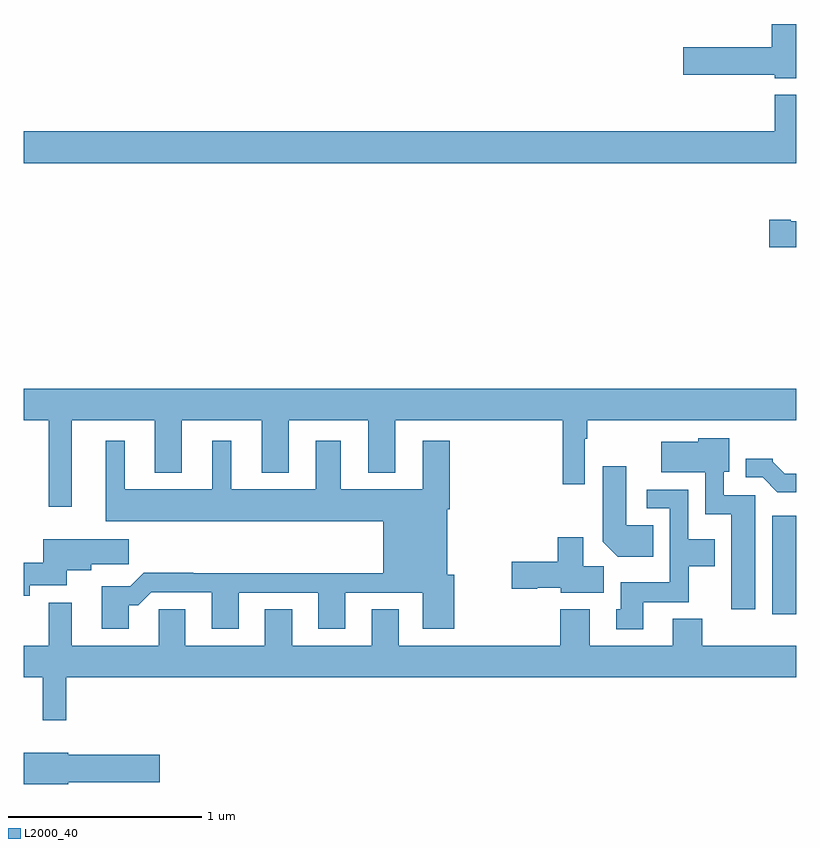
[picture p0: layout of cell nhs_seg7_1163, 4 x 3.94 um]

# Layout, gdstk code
import gdstk
lib = gdstk.Library(unit=1e-6, precision=1e-09)
def R(c, l, rs):  # rectangles x0, y0, x1, y1
    for r in rs: c.add(gdstk.rectangle(r[:2], r[2:], *l))
def P(c, l, *ps):  # polygons
    for p in ps: c.add(gdstk.Polygon(p, *l))
L2000_40 = (2000, 40)

nhs_seg7_1163 = lib.new_cell('nhs_seg7_1163')
R(nhs_seg7_1163, L2000_40, [(196.877,1000.944,197,1001.452)])
P(nhs_seg7_1163, L2000_40, [(197,1004),(196.874,1004),(196.874,1003.88),(196.416,1003.88),(196.416,1003.738),(196.89,1003.738),(196.89,1003.718),(197,1003.718)],
  [(197,1003.633),(196.889,1003.633),(196.889,1003.444),(193,1003.444),(193,1003.28),(197,1003.28)],
  [(197,1002.979),(196.972,1002.979),(196.972,1002.987),(196.86,1002.987),(196.86,1002.845),(197,1002.845)],
  [(193.249,1001.948),(193.679,1001.948),(193.679,1001.675),(193.819,1001.675),(193.819,1001.948),(194.231,1001.948),(194.231,1001.675),(194.371,1001.675),(194.371,1001.948),(194.783,1001.948),(194.783,1001.675),(194.923,1001.675),(194.923,1001.948),(195.79,1001.948),(195.79,1001.616),(195.906,1001.616),(195.906,1001.852),(195.919,1001.852),(195.919,1001.948),(197,1001.948),(197,1002.112),(193,1002.112),(193,1001.948),(193.128,1001.948),(193.128,1001.499),(193.249,1001.499)],
  [(196.789,1001.559),(196.626,1001.559),(196.626,1001.682),(196.654,1001.682),(196.654,1001.854),(196.494,1001.854),(196.494,1001.836),(196.302,1001.836),(196.302,1001.678),(196.53,1001.678),(196.53,1001.462),(196.664,1001.462),(196.664,1000.968),(196.789,1000.968)],
  [(193.543,1000.991),(193.592,1000.991),(193.659,1001.058),(193.973,1001.058),(193.973,1000.869),(194.113,1000.869),(194.113,1001.055),(194.525,1001.055),(194.525,1000.869),(194.665,1000.869),(194.665,1001.055),(195.065,1001.055),(195.065,1000.869),(195.23,1000.869),(195.23,1001.148),(195.193,1001.148),(195.193,1001.486),(195.206,1001.486),(195.206,1001.842),(195.065,1001.842),(195.065,1001.59),(194.641,1001.59),(194.641,1001.842),(194.513,1001.842),(194.513,1001.59),(194.074,1001.59),(194.074,1001.842),(193.976,1001.842),(193.976,1001.59),(193.522,1001.59),(193.522,1001.842),(193.424,1001.842),(193.424,1001.426),(194.861,1001.426),(194.861,1001.156),(193.877,1001.156),(193.877,1001.159),(193.622,1001.159),(193.552,1001.089),(193.403,1001.089),(193.403,1000.869),(193.543,1000.869)],
  [(197,1001.67),(196.942,1001.67),(196.878,1001.734),(196.878,1001.749),(196.739,1001.749),(196.739,1001.652),(196.827,1001.652),(196.903,1001.576),(197,1001.576)],
  [(196.259,1001.404),(196.12,1001.404),(196.12,1001.71),(195.998,1001.71),(195.998,1001.318),(196.076,1001.24),(196.259,1001.24)],
  [(196.207,1001.006),(196.443,1001.006),(196.443,1001.192),(196.579,1001.192),(196.579,1001.332),(196.44,1001.332),(196.44,1001.589),(196.227,1001.589),(196.227,1001.493),(196.344,1001.493),(196.344,1001.11),(196.091,1001.11),(196.091,1000.968),(196.067,1000.968),(196.067,1000.866),(196.207,1000.866)],
  [(196.003,1001.192),(195.898,1001.192),(195.898,1001.341),(195.764,1001.341),(195.764,1001.216),(195.528,1001.216),(195.528,1001.074),(195.66,1001.074),(195.66,1001.081),(195.78,1001.081),(195.78,1001.054),(196.003,1001.054)],
  [(193.03,1001.094),(193.222,1001.094),(193.222,1001.171),(193.348,1001.171),(193.348,1001.203),(193.543,1001.203),(193.543,1001.332),(193.1,1001.332),(193.1,1001.21),(193,1001.21),(193,1001.039),(193.03,1001.039)],
  [(193.219,1000.616),(197,1000.616),(197,1000.78),(196.514,1000.78),(196.514,1000.921),(196.361,1000.921),(196.361,1000.78),(195.931,1000.78),(195.931,1000.969),(195.779,1000.969),(195.779,1000.78),(194.941,1000.78),(194.941,1000.97),(194.801,1000.97),(194.801,1000.78),(194.389,1000.78),(194.389,1000.97),(194.249,1000.97),(194.249,1000.78),(193.837,1000.78),(193.837,1000.97),(193.698,1000.97),(193.698,1000.78),(193.249,1000.78),(193.249,1001.002),(193.128,1001.002),(193.128,1000.78),(193,1000.78),(193,1000.616),(193.097,1000.616),(193.097,1000.395),(193.219,1000.395)],
  [(193.23,1000.073),(193.705,1000.073),(193.705,1000.215),(193.23,1000.215),(193.23,1000.225),(193,1000.225),(193,1000.064),(193.23,1000.064)])

lib.write_gds('nhs_seg7_1163.gds')
